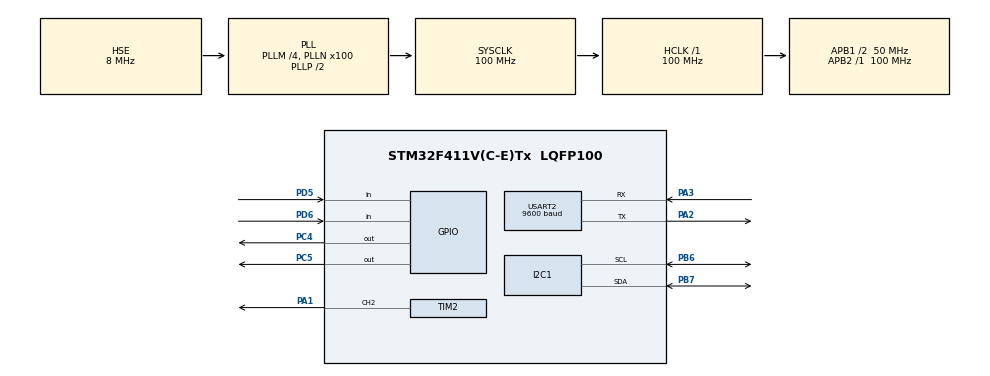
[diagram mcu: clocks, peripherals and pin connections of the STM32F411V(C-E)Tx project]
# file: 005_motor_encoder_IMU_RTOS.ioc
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FREERTOS.Tasks01=encoderTask,24,384,get_encoder_task,Default,NULL,Dynamic,NULL,NULL;imu_task_handle,24,768,imu_task,Default,NULL,Dynamic,NULL,NULL;motor_driver,24,1023,motor_driver_task,Default,NULL,Dynamic,NULL,NULL
Mcu.Family=STM32F4
Mcu.Name=STM32F411V(C-E)Tx
Mcu.Package=LQFP100
NVIC.PriorityGroup=NVIC_PRIORITYGROUP_4
NVIC.USART2_IRQn=true\:5\:0\:false\:false\:true\:true\:true\:true\:true
PA1.Signal=S_TIM2_CH2
PA2.Mode=Asynchronous
PA2.Signal=USART2_TX
PA3.Mode=Asynchronous
PA3.Signal=USART2_RX
PB6.Mode=I2C
PB6.Signal=I2C1_SCL
PB7.Mode=I2C
PB7.Signal=I2C1_SDA
PC4.Signal=GPIO_Output
PC5.Signal=GPIO_Output
PD5.Signal=GPIO_Input
PD6.Signal=GPIO_Input
PH0\ -\ OSC_IN.Mode=HSE-External-Oscillator
PH0\ -\ OSC_IN.Signal=RCC_OSC_IN
PH1\ -\ OSC_OUT.Mode=HSE-External-Oscillator
PH1\ -\ OSC_OUT.Signal=RCC_OSC_OUT
ProjectManager.HeapSize=0x200
ProjectManager.StackSize=0x400
ProjectManager.TargetToolchain=STM32CubeIDE
RCC.48MHZClocksFreq_Value=50000000
RCC.AHBFreq_Value=100000000
RCC.APB1CLKDivider=RCC_HCLK_DIV2
RCC.APB1Freq_Value=50000000
RCC.APB1TimFreq_Value=100000000
RCC.APB2Freq_Value=100000000
RCC.APB2TimFreq_Value=100000000
RCC.CortexFreq_Value=100000000
RCC.HCLKFreq_Value=100000000
RCC.HSE_VALUE=8000000
RCC.HSI_VALUE=16000000
RCC.LSE_VALUE=32768
RCC.PLLM=4
RCC.PLLN=100
RCC.PLLSourceVirtual=RCC_PLLSOURCE_HSE
RCC.SYSCLKFreq_VALUE=100000000
RCC.SYSCLKSource=RCC_SYSCLKSOURCE_PLLCLK
RCC.VCOOutputFreq_Value=200000000
SH.S_TIM2_CH2.0=TIM2_CH2,PWM Generation2 CH2
TIM2.Channel-PWM\ Generation2\ CH2=TIM_CHANNEL_2
TIM2.Period=1023
TIM2.Prescaler=200
USART2.BaudRate=9600
USART2.VirtualMode=VM_ASYNC
VP_FREERTOS_VS_CMSIS_V2.Mode=CMSIS_V2
VP_TIM2_VS_ClockSourceINT.Mode=Internal
board=custom

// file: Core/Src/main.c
/* USER CODE BEGIN Header */
/**
 ******************************************************************************
 * @file           : main.c
 * @brief          : Main program body
 ******************************************************************************
 * @attention
 *
 * Copyright (c) 2023 STMicroelectronics.
 * All rights reserved.
 *
 * This software is licensed under terms that can be found in the LICENSE file
 * in the root directory of this software component.
 * If no LICENSE file comes with this software, it is provided AS-IS.
 *
 ******************************************************************************
 */
/* USER CODE END Header */
#include "main.h"
#include "cmsis_os.h"

/* USER CODE BEGIN Includes */
#include "stdbool.h"
#include "stdio.h"
#include <string.h>
#include "mpu6050.h"
/* USER CODE END Includes */

I2C_HandleTypeDef hi2c1;

TIM_HandleTypeDef htim2;

UART_HandleTypeDef huart2;

/* Definitions for encoderTask */
osThreadId_t encoderTaskHandle;
const osThreadAttr_t encoderTask_attributes = {
  .name = "encoderTask",
  .stack_size = 384 * 4,
  .priority = (osPriority_t) osPriorityNormal,
};
/* Definitions for imu_task_handle */
osThreadId_t imu_task_handleHandle;
const osThreadAttr_t imu_task_handle_attributes = {
  .name = "imu_task_handle",
  .stack_size = 768 * 4,
  .priority = (osPriority_t) osPriorityNormal,
};
/* Definitions for motor_driver */
osThreadId_t motor_driverHandle;
const osThreadAttr_t motor_driver_attributes = {
  .name = "motor_driver",
  .stack_size = 1023 * 4,
  .priority = (osPriority_t) osPriorityNormal,
};

void SystemClock_Config(void);
static void MX_GPIO_Init(void);
static void MX_USART2_UART_Init(void);
static void MX_I2C1_Init(void);
static void MX_TIM2_Init(void);
void get_encoder_task(void *argument);
void imu_task(void *argument);
void motor_driver_task(void *argument);

/* USER CODE BEGIN PFP */
void print_accel(MPU6050_t *MPU6050);
void print_gyro(MPU6050_t *MPU6050);
/* USER CODE END PFP */

int main(void)
{

  /* MCU Configuration--------------------------------------------------------*/

  /* Reset of all peripherals, Initializes the Flash interface and the Systick. */
  HAL_Init();

  /* Configure the system clock */
  SystemClock_Config();

  /* Initialize all configured peripherals */
  MX_GPIO_Init();
  MX_USART2_UART_Init();
  MX_I2C1_Init();
  MX_TIM2_Init();

  /* Init scheduler */
  osKernelInitialize();

  /* Create the thread(s) */
  /* creation of encoderTask */
  encoderTaskHandle = osThreadNew(get_encoder_task, NULL, &encoderTask_attributes);

  /* creation of imu_task_handle */
  imu_task_handleHandle = osThreadNew(imu_task, NULL, &imu_task_handle_attributes);

  /* creation of motor_driver */
  motor_driverHandle = osThreadNew(motor_driver_task, NULL, &motor_driver_attributes);

  /* Start scheduler */
  osKernelStart();

  /* We should never get here as control is now taken by the scheduler */
  /* Infinite loop */
	while (1) {

	}
}

void SystemClock_Config(void)
{
  RCC_OscInitTypeDef RCC_OscInitStruct = {0};
  RCC_ClkInitTypeDef RCC_ClkInitStruct = {0};

  /** Configure the main internal regulator output voltage
  */
  __HAL_RCC_PWR_CLK_ENABLE();
  __HAL_PWR_VOLTAGESCALING_CONFIG(PWR_REGULATOR_VOLTAGE_SCALE1);

  /** Initializes the RCC Oscillators according to the specified parameters
  * in the RCC_OscInitTypeDef structure.
  */
  RCC_OscInitStruct.OscillatorType = RCC_OSCILLATORTYPE_HSE;
  RCC_OscInitStruct.HSEState = RCC_HSE_ON;
  RCC_OscInitStruct.PLL.PLLState = RCC_PLL_ON;
  RCC_OscInitStruct.PLL.PLLSource = RCC_PLLSOURCE_HSE;
  RCC_OscInitStruct.PLL.PLLM = 4;
  RCC_OscInitStruct.PLL.PLLN = 100;
  RCC_OscInitStruct.PLL.PLLP = RCC_PLLP_DIV2;
  RCC_OscInitStruct.PLL.PLLQ = 4;
  if (HAL_RCC_OscConfig(&RCC_OscInitStruct) != HAL_OK)
  {
    Error_Handler();
  }

  /** Initializes the CPU, AHB and APB buses clocks
  */
  RCC_ClkInitStruct.ClockType = RCC_CLOCKTYPE_HCLK|RCC_CLOCKTYPE_SYSCLK
                              |RCC_CLOCKTYPE_PCLK1|RCC_CLOCKTYPE_PCLK2;
  RCC_ClkInitStruct.SYSCLKSource = RCC_SYSCLKSOURCE_PLLCLK;
  RCC_ClkInitStruct.AHBCLKDivider = RCC_SYSCLK_DIV1;
  RCC_ClkInitStruct.APB1CLKDivider = RCC_HCLK_DIV2;
  RCC_ClkInitStruct.APB2CLKDivider = RCC_HCLK_DIV1;

  if (HAL_RCC_ClockConfig(&RCC_ClkInitStruct, FLASH_LATENCY_3) != HAL_OK)
  {
    Error_Handler();
  }
}

static void MX_I2C1_Init(void)
{

  hi2c1.Instance = I2C1;
  hi2c1.Init.ClockSpeed = 100000;
  hi2c1.Init.DutyCycle = I2C_DUTYCYCLE_2;
  hi2c1.Init.OwnAddress1 = 0;
  hi2c1.Init.AddressingMode = I2C_ADDRESSINGMODE_7BIT;
  hi2c1.Init.DualAddressMode = I2C_DUALADDRESS_DISABLE;
  hi2c1.Init.OwnAddress2 = 0;
  hi2c1.Init.GeneralCallMode = I2C_GENERALCALL_DISABLE;
  hi2c1.Init.NoStretchMode = I2C_NOSTRETCH_DISABLE;
  if (HAL_I2C_Init(&hi2c1) != HAL_OK)
  {
    Error_Handler();
  }

}

static void MX_TIM2_Init(void)
{

  TIM_ClockConfigTypeDef sClockSourceConfig = {0};
  TIM_MasterConfigTypeDef sMasterConfig = {0};
  TIM_OC_InitTypeDef sConfigOC = {0};

  htim2.Instance = TIM2;
  htim2.Init.Prescaler = 200;
  htim2.Init.CounterMode = TIM_COUNTERMODE_UP;
  htim2.Init.Period = 1023;
  htim2.Init.ClockDivision = TIM_CLOCKDIVISION_DIV1;
  htim2.Init.AutoReloadPreload = TIM_AUTORELOAD_PRELOAD_DISABLE;
  if (HAL_TIM_Base_Init(&htim2) != HAL_OK)
  {
    Error_Handler();
  }
  sClockSourceConfig.ClockSource = TIM_CLOCKSOURCE_INTERNAL;
  if (HAL_TIM_ConfigClockSource(&htim2, &sClockSourceConfig) != HAL_OK)
  {
    Error_Handler();
  }
  if (HAL_TIM_PWM_Init(&htim2) != HAL_OK)
  {
    Error_Handler();
  }
  sMasterConfig.MasterOutputTrigger = TIM_TRGO_RESET;
  sMasterConfig.MasterSlaveMode = TIM_MASTERSLAVEMODE_DISABLE;
  if (HAL_TIMEx_MasterConfigSynchronization(&htim2, &sMasterConfig) != HAL_OK)
  {
    Error_Handler();
  }
  sConfigOC.OCMode = TIM_OCMODE_PWM1;
  sConfigOC.Pulse = 0;
  sConfigOC.OCPolarity = TIM_OCPOLARITY_HIGH;
  sConfigOC.OCFastMode = TIM_OCFAST_DISABLE;
  if (HAL_TIM_PWM_ConfigChannel(&htim2, &sConfigOC, TIM_CHANNEL_2) != HAL_OK)
  {
    Error_Handler();
  }
  HAL_TIM_MspPostInit(&htim2);

}

static void MX_USART2_UART_Init(void)
{

  huart2.Instance = USART2;
  huart2.Init.BaudRate = 9600;
  huart2.Init.WordLength = UART_WORDLENGTH_8B;
  huart2.Init.StopBits = UART_STOPBITS_1;
  huart2.Init.Parity = UART_PARITY_NONE;
  huart2.Init.Mode = UART_MODE_TX_RX;
  huart2.Init.HwFlowCtl = UART_HWCONTROL_NONE;
  huart2.Init.OverSampling = UART_OVERSAMPLING_16;
  if (HAL_UART_Init(&huart2) != HAL_OK)
  {
    Error_Handler();
  }

}

static void MX_GPIO_Init(void)
{
  GPIO_InitTypeDef GPIO_InitStruct = {0};

  /* GPIO Ports Clock Enable */
  __HAL_RCC_GPIOH_CLK_ENABLE();
  __HAL_RCC_GPIOA_CLK_ENABLE();
  __HAL_RCC_GPIOC_CLK_ENABLE();
  __HAL_RCC_GPIOD_CLK_ENABLE();
  __HAL_RCC_GPIOB_CLK_ENABLE();

  /*Configure GPIO pin Output Level */
  HAL_GPIO_WritePin(GPIOC, GPIO_PIN_4|GPIO_PIN_5, GPIO_PIN_RESET);

  /*Configure GPIO pins : PC4 PC5 */
  GPIO_InitStruct.Pin = GPIO_PIN_4|GPIO_PIN_5;
  GPIO_InitStruct.Mode = GPIO_MODE_OUTPUT_PP;
  GPIO_InitStruct.Pull = GPIO_NOPULL;
  GPIO_InitStruct.Speed = GPIO_SPEED_FREQ_LOW;
  HAL_GPIO_Init(GPIOC, &GPIO_InitStruct);

  /*Configure GPIO pins : PD5 PD6 */
  GPIO_InitStruct.Pin = GPIO_PIN_5|GPIO_PIN_6;
  GPIO_InitStruct.Mode = GPIO_MODE_INPUT;
  GPIO_InitStruct.Pull = GPIO_NOPULL;
  HAL_GPIO_Init(GPIOD, &GPIO_InitStruct);

}

/* USER CODE BEGIN 4 */
void print_accel(MPU6050_t *MPU6050) {
	char buffer[100];
	int32_t len;
	len = sprintf(buffer, "Acc: X:%f Y:%f Z:%f\n", MPU6050->Ax, MPU6050->Ay,
			MPU6050->Az);
	HAL_UART_Transmit(&huart2, (uint8_t*) buffer, len, HAL_MAX_DELAY);
}
void print_gyro(MPU6050_t *MPU6050) {
	char buffer[100];
	int32_t len;
	len = sprintf(buffer, "Gyro: X:%f Y:%f Z:%f\n", MPU6050->Gx, MPU6050->Gy,
			MPU6050->Gz);
	HAL_UART_Transmit(&huart2, (uint8_t*) buffer, len, HAL_MAX_DELAY);

}
/* USER CODE END 4 */

void get_encoder_task(void *argument)
{
  /* USER CODE BEGIN 5 */
	/* Infinite loop */
	int encoderPosCount = 0;
	char posCount[20];
	int pinALast;
	int aVal;
	bool bCW;
	pinALast = HAL_GPIO_ReadPin(GPIOD, GPIO_PIN_5);
	/* Infinite loop */
	for (;;) {
		aVal = HAL_GPIO_ReadPin(GPIOD, GPIO_PIN_5);
		if (aVal != pinALast) {

			if (HAL_GPIO_ReadPin(GPIOD, GPIO_PIN_6) != aVal) {
				encoderPosCount++;
				bCW = 1;
			} else {
				bCW = 0;
				encoderPosCount--;
			}
			//HAL_UART_Transmit(&huart2, (uint8_t*) "Rotated: ", 8,HAL_MAX_DELAY);
			if (bCW) {
				//HAL_UART_Transmit(&huart2, (uint8_t*) "clockwise\n", 9,HAL_MAX_DELAY);
			} else {
				//HAL_UART_Transmit(&huart2, (uint8_t*) "counterclockwise\n", 15,HAL_MAX_DELAY);
			}
			//HAL_UART_Transmit(&huart2, (uint8_t*) "Encoder Position: ", 17,HAL_MAX_DELAY);
			sprintf(posCount, "%d", encoderPosCount);
			HAL_UART_Transmit(&huart2, (uint8_t*) posCount, strlen(posCount),
			HAL_MAX_DELAY);
			HAL_UART_Transmit(&huart2, (uint8_t*) "\n", 1, HAL_MAX_DELAY);

		}
		pinALast = aVal;
	}
  /* USER CODE END 5 */
}

void imu_task(void *argument)
{
  /* USER CODE BEGIN imu_task */
	/* Infinite loop */
	MPU6050_t MPU6050;

	for (;;) {
		MPU6050_Read_Accel(&hi2c1, &MPU6050);
		HAL_Delay(500);
		print_accel(&MPU6050);
	}
  /* USER CODE END imu_task */
}

void motor_driver_task(void *argument)
{
  /* USER CODE BEGIN motor_driver_task */
	/* Infinite loop */
	HAL_TIM_PWM_Start(&htim2, TIM_CHANNEL_2);
	// Prescaler = (Saat Hızı) x (İstenen Zaman Dilimi) / (1,000,000)
	// Prescaler = (100,000,000) x (2000) / (1,000,000) = 200
	int speed = 1023;
	HAL_GPIO_WritePin(GPIOC, GPIO_PIN_4, 0);
	HAL_GPIO_WritePin(GPIOC, GPIO_PIN_5, 0);
	for (;;) {

		HAL_UART_Transmit(&huart2, (uint8_t*) "CCW:\n ", 5,
		HAL_MAX_DELAY);
		HAL_GPIO_WritePin(GPIOC, GPIO_PIN_4, 0);
		HAL_GPIO_WritePin(GPIOC, GPIO_PIN_5, 1);
		__HAL_TIM_SET_COMPARE(&htim2, TIM_CHANNEL_2, speed);
		HAL_Delay(5000);

		HAL_UART_Transmit(&huart2, (uint8_t*) "stop\n ", 5,
		HAL_MAX_DELAY);
		HAL_GPIO_WritePin(GPIOC, GPIO_PIN_4, 0);
		HAL_GPIO_WritePin(GPIOC, GPIO_PIN_5, 0);
		__HAL_TIM_SET_COMPARE(&htim2, TIM_CHANNEL_2, 0);
		HAL_Delay(1000);

		HAL_UART_Transmit(&huart2, (uint8_t*) "CW:\n ", 4,
		HAL_MAX_DELAY);
		HAL_GPIO_WritePin(GPIOC, GPIO_PIN_4, 1);
		HAL_GPIO_WritePin(GPIOC, GPIO_PIN_5, 0);
		__HAL_TIM_SET_COMPARE(&htim2, TIM_CHANNEL_2, speed);
		HAL_Delay(5000);

		HAL_UART_Transmit(&huart2, (uint8_t*) "stop\n ", 5,
		HAL_MAX_DELAY);
		HAL_GPIO_WritePin(GPIOC, GPIO_PIN_4, 0);
		HAL_GPIO_WritePin(GPIOC, GPIO_PIN_5, 0);
		__HAL_TIM_SET_COMPARE(&htim2, TIM_CHANNEL_2, 0);
		HAL_Delay(1000);
	}
  /* USER CODE END motor_driver_task */
}

void Error_Handler(void)
{
	__disable_irq();
	while (1) {
	}
}
